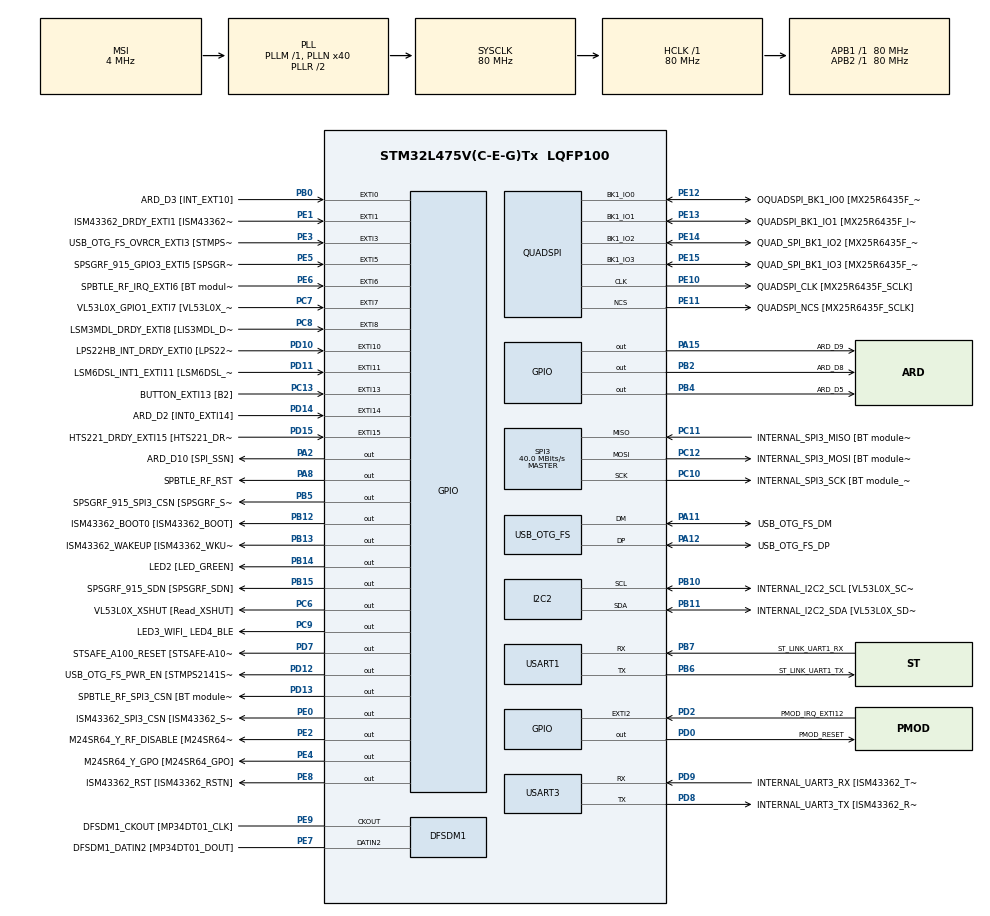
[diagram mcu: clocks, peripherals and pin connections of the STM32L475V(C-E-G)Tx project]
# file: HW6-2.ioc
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FREERTOS.Tasks01=defaultTask,24,128,StartDefaultTask,Default,NULL,Dynamic,NULL,NULL;myTask02,24,512,StartTask02,Default,NULL,Static,myTask02Buffer,myTask02ControlBlock
Mcu.Family=STM32L4
Mcu.Name=STM32L475V(C-E-G)Tx
Mcu.Package=LQFP100
NVIC.EXTI15_10_IRQn=true\:5\:0\:false\:false\:true\:true\:true\:true\:true
NVIC.EXTI9_5_IRQn=true\:5\:0\:false\:false\:true\:true\:true\:true\:true
NVIC.PriorityGroup=NVIC_PRIORITYGROUP_4
PA0.GPIO_Label=ARD_D1 [UART4_TX]
PA0.Signal=UART4_TX
PA1.GPIO_Label=ARD_D0 [UART4_RX]
PA1.Signal=UART4_RX
PA10.GPIO_Label=USB_OTG_FS_ID
PA10.Signal=USB_OTG_FS_ID
PA11.GPIO_Label=USB_OTG_FS_DM
PA11.Mode=Device_Only
PA11.Signal=USB_OTG_FS_DM
PA12.GPIO_Label=USB_OTG_FS_DP
PA12.Mode=Device_Only
PA12.Signal=USB_OTG_FS_DP
PA13\ (JTMS-SWDIO).GPIO_Label=SYS_JTMS_SWDIO
PA13\ (JTMS-SWDIO).Mode=Serial_Wire
PA13\ (JTMS-SWDIO).Signal=SYS_JTMS-SWDIO
PA14\ (JTCK-SWCLK).GPIO_Label=SYS_JTCK_SWCLK
PA14\ (JTCK-SWCLK).Mode=Serial_Wire
PA14\ (JTCK-SWCLK).Signal=SYS_JTCK-SWCLK
PA15\ (JTDI).GPIO_Label=ARD_D9
PA15\ (JTDI).Signal=GPIO_Output
PA2.GPIO_Label=ARD_D10 [SPI_SSN]
PA2.Signal=GPIO_Output
PA3.GPIO_Label=ARD_D4
PA3.Signal=S_TIM2_CH4
PA4.GPIO_Label=ARD_D7
PA4.Signal=ADCx_IN9
PA5.GPIO_Label=ARD_D13 [SPI1_SCK]
PA5.Signal=SPI1_SCK
PA6.GPIO_Label=ARD_D12 [SPI1_MISO]
PA6.Signal=SPI1_MISO
PA7.GPIO_Label=ARD_D11 [SPI1_MOSI]
PA7.Signal=SPI1_MOSI
PA8.GPIO_Label=SPBTLE_RF_RST
PA8.Signal=GPIO_Output
PA9.GPIO_Label=USB_OTG_FS_VBUS [STMPS2141STR_OUT]
PA9.Signal=USB_OTG_FS_VBUS
PB0.GPIO_Label=ARD_D3 [INT_EXT10]
PB0.Signal=GPXTI0
PB1.GPIO_Label=ARD_D6 [ADC1_IN6]
PB1.Signal=ADCx_IN16
PB10.GPIO_Label=INTERNAL_I2C2_SCL [VL53L0X_SCL]
PB10.GPIO_Pu=GPIO_PULLUP
PB10.Mode=I2C
PB10.Signal=I2C2_SCL
PB11.GPIO_Label=INTERNAL_I2C2_SDA [VL53L0X_SDA]
PB11.GPIO_Pu=GPIO_PULLUP
PB11.Mode=I2C
PB11.Signal=I2C2_SDA
PB12.GPIO_Label=ISM43362_BOOT0 [ISM43362_BOOT]
PB12.Signal=GPIO_Output
PB13.GPIO_Label=ISM43362_WAKEUP [ISM43362_WKUP]
PB13.Signal=GPIO_Output
PB14.GPIO_Label=LED2 [LED_GREEN]
PB14.Signal=GPIO_Output
PB15.GPIO_Label=SPSGRF_915_SDN [SPSGRF_SDN]
PB15.Signal=GPIO_Output
PB2.GPIO_Label=ARD_D8
PB2.Signal=GPIO_Output
PB3\ (JTDO-TRACESWO).GPIO_Label=SYS_JTD0_SWO
PB3\ (JTDO-TRACESWO).Signal=SYS_JTDO-SWO
PB4\ (NJTRST).GPIO_Label=ARD_D5
PB4\ (NJTRST).Signal=GPIO_Output
PB5.GPIO_Label=SPSGRF_915_SPI3_CSN [SPSGRF_SPI_CS]
PB5.PinState=GPIO_PIN_SET
PB5.Signal=GPIO_Output
PB6.GPIO_Label=ST_LINK_UART1_TX
PB6.Mode=Asynchronous
PB6.Signal=USART1_TX
PB7.GPIO_Label=ST_LINK_UART1_RX
PB7.Mode=Asynchronous
PB7.Signal=USART1_RX
PB8.GPIO_Label=ARD_D15 [I2C1_SCL]
PB8.Signal=I2C1_SCL
PB9.GPIO_Label=ARD_D14 [I2C1_SDA]
PB9.Signal=I2C1_SDA
PC0.GPIO_Label=ARD_A5 [ADC]
PC0.Signal=ADCx_IN1
PC1.GPIO_Label=ARD_A4 [ADC]
PC1.Signal=ADCx_IN2
PC10.GPIO_Label=INTERNAL_SPI3_SCK [BT module_SPI_SCLK] [ISM43362_SCK]
PC10.Mode=Full_Duplex_Master
PC10.Signal=SPI3_SCK
PC11.GPIO_Label=INTERNAL_SPI3_MISO [BT module_SPI_MISO] [ISM43362_MISO]
PC11.Mode=Full_Duplex_Master
PC11.Signal=SPI3_MISO
PC12.GPIO_Label=INTERNAL_SPI3_MOSI [BT module_SPI_MOSI] [ISM43362_MOSI]
PC12.Mode=Full_Duplex_Master
PC12.Signal=SPI3_MOSI
PC13.GPIO_Label=BUTTON_EXTI13 [B2]
PC13.GPIO_ModeDefaultEXTI=GPIO_MODE_IT_FALLING
PC13.Signal=GPXTI13
PC14-OSC32_IN\ (PC14).Mode=LSE-External-Oscillator
PC14-OSC32_IN\ (PC14).Signal=RCC_OSC32_IN
PC15-OSC32_OUT\ (PC15).Mode=LSE-External-Oscillator
PC15-OSC32_OUT\ (PC15).Signal=RCC_OSC32_OUT
PC2.GPIO_Label=ARD_A3 [ADC]
PC2.Signal=ADCx_IN3
PC3.GPIO_Label=ARD_A2 [ADC]
PC3.Signal=ADCx_IN4
PC4.GPIO_Label=ARD_A1 [ADC]
PC4.Signal=ADCx_IN13
PC5.GPIO_Label=ARD_A0 [ADC]
PC5.Signal=ADCx_IN14
PC6.GPIO_Label=VL53L0X_XSHUT [Read_XSHUT]
PC6.Signal=GPIO_Output
PC7.GPIO_Label=VL53L0X_GPIO1_EXTI7 [VL53L0X_GPIO1]
PC7.Signal=GPXTI7
PC8.GPIO_Label=LSM3MDL_DRDY_EXTI8 [LIS3MDL_DRDY]
PC8.Signal=GPXTI8
PC9.GPIO_Label=LED3_WIFI_ LED4_BLE
PC9.Signal=GPIO_Output
PD0.GPIO_Label=PMOD_RESET
PD0.Signal=GPIO_Output
PD1.GPIO_Label=PMOD_SPI2_SCK
PD1.Signal=SPI2_SCK
PD10.GPIO_Label=LPS22HB_INT_DRDY_EXTI0 [LPS22HB_INT_DRDY] 
PD10.Signal=GPXTI10
PD11.GPIO_Label=LSM6DSL_INT1_EXTI11 [LSM6DSL_INT1]
PD11.Signal=GPXTI11
PD12.GPIO_Label=USB_OTG_FS_PWR_EN [STMPS2141STR_EN]
PD12.Signal=GPIO_Output
PD13.GPIO_Label=SPBTLE_RF_SPI3_CSN [BT module_SPI_CS]
PD13.PinState=GPIO_PIN_SET
PD13.Signal=GPIO_Output
PD14.GPIO_Label=ARD_D2 [INT0_EXTI14]
PD14.Signal=GPXTI14
PD15.GPIO_Label=HTS221_DRDY_EXTI15 [HTS221_DRDY]
PD15.Signal=GPXTI15
PD2.GPIO_Label=PMOD_IRQ_EXTI12
PD2.Signal=GPXTI2
PD3.GPIO_Label=PMOD_UART2_CTS
PD3.Signal=USART2_CTS
PD4.GPIO_Label=PMOD_UART2_RTS
PD4.Signal=USART2_RTS
PD5.GPIO_Label=PMOD_UART2_TX
PD5.Signal=USART2_TX
PD6.GPIO_Label=PMOD_UART2_RX
PD6.Signal=USART2_RX
PD7.GPIO_Label=STSAFE_A100_RESET [STSAFE-A100_RESET]
PD7.Signal=GPIO_Output
PD8.GPIO_Label=INTERNAL_UART3_TX [ISM43362_RX]
PD8.Mode=Asynchronous
PD8.Signal=USART3_TX
PD9.GPIO_Label=INTERNAL_UART3_RX [ISM43362_TX]
PD9.Mode=Asynchronous
PD9.Signal=USART3_RX
PE0.GPIO_Label=ISM43362_SPI3_CSN [ISM43362_SSN]
PE0.PinState=GPIO_PIN_SET
PE0.Signal=GPIO_Output
PE1.GPIO_Label=ISM43362_DRDY_EXTI1 [ISM43362_DATARDY]
PE1.Signal=GPXTI1
PE10.GPIO_Label=QUADSPI_CLK [MX25R6435F_SCLK]
PE10.Mode=Single Bank
PE10.Signal=QUADSPI_CLK
PE11.GPIO_Label=QUADSPI_NCS [MX25R6435F_SCLK]
PE11.Mode=Single Bank
PE11.Signal=QUADSPI_NCS
PE12.GPIO_Label=OQUADSPI_BK1_IO0 [MX25R6435F_IO0]
PE12.Mode=Single Bank
PE12.Signal=QUADSPI_BK1_IO0
PE13.GPIO_Label=QUADSPI_BK1_IO1 [MX25R6435F_IO1]
PE13.Mode=Single Bank
PE13.Signal=QUADSPI_BK1_IO1
PE14.GPIO_Label=QUAD_SPI_BK1_IO2 [MX25R6435F_IO2]
PE14.Mode=Single Bank
PE14.Signal=QUADSPI_BK1_IO2
PE15.GPIO_Label=QUAD_SPI_BK1_IO3 [MX25R6435F_IO3]
PE15.Mode=Single Bank
PE15.Signal=QUADSPI_BK1_IO3
PE2.GPIO_Label=M24SR64_Y_RF_DISABLE [M24SR64_RFDIS]
PE2.Signal=GPIO_Output
PE3.GPIO_Label=USB_OTG_FS_OVRCR_EXTI3 [STMPS2141STR_FAULT]
PE3.Signal=GPXTI3
PE4.GPIO_Label=M24SR64_Y_GPO [M24SR64_GPO]
PE4.Signal=GPIO_Output
PE5.GPIO_Label=SPSGRF_915_GPIO3_EXTI5 [SPSGRF_GPIO_3]
PE5.Signal=GPXTI5
PE6.GPIO_Label=SPBTLE_RF_IRQ_EXTI6 [BT module_SPI_IRQ]
PE6.Signal=GPXTI6
PE7.GPIO_Label=DFSDM1_DATIN2 [MP34DT01_DOUT]
PE7.Signal=S_DATAIN2DFSDM1
PE8.GPIO_Label=ISM43362_RST [ISM43362_RSTN]
PE8.Signal=GPIO_Output
PE9.GPIO_Label=DFSDM1_CKOUT [MP34DT01_CLK]
PE9.Signal=S_CKOUTDFSDM1
ProjectManager.HeapSize=0x200
ProjectManager.StackSize=0x400
ProjectManager.TargetToolchain=STM32CubeIDE
QUADSPI.ClockPrescaler=2
QUADSPI.FifoThreshold=4
QUADSPI.FlashSize=23
QUADSPI.SampleShifting=QSPI_SAMPLE_SHIFTING_HALFCYCLE
RCC.ADCFreq_Value=48000000
RCC.AHBFreq_Value=80000000
RCC.APB1Freq_Value=80000000
RCC.APB1TimFreq_Value=80000000
RCC.APB2Freq_Value=80000000
RCC.APB2TimFreq_Value=80000000
RCC.CortexFreq_Value=80000000
RCC.HCLKFreq_Value=80000000
RCC.HSE_VALUE=8000000
RCC.HSI_VALUE=16000000
RCC.MSI_VALUE=4000000
RCC.PLLN=40
RCC.PLLSAI1N=24
RCC.SYSCLKFreq_VALUE=80000000
RCC.SYSCLKSource=RCC_SYSCLKSOURCE_PLLCLK
RCC.USBFreq_Value=48000000
RCC.VCOOutputFreq_Value=160000000
SH.ADCx_IN1.0=ADC1_IN1
SH.ADCx_IN13.0=ADC1_IN13
SH.ADCx_IN14.0=ADC1_IN14
SH.ADCx_IN16.0=ADC1_IN16
SH.ADCx_IN2.0=ADC1_IN2
SH.ADCx_IN3.0=ADC1_IN3
SH.ADCx_IN4.0=ADC1_IN4
SH.ADCx_IN9.0=ADC1_IN9
SH.S_CKOUTDFSDM1.0=DFSDM1_CKOUT,CKOUT
SH.S_CKOUTDFSDM1.1=DFSDM1_CKOUT,PDM_SPI_Input_from_ch12_and_Internal_Clock
SH.S_DATAIN2DFSDM1.0=DFSDM1_DATIN2,PDM_SPI_Input_from_ch12_and_Internal_Clock
SH.S_TIM2_CH4.0=TIM2_CH4
SPI3.CalculateBaudRate=40.0 MBits/s
SPI3.Direction=SPI_DIRECTION_2LINES
SPI3.Mode=SPI_MODE_MASTER
SPI3.VirtualType=VM_MASTER
USART1.VirtualMode-Asynchronous=VM_ASYNC
USART3.VirtualMode-Asynchronous=VM_ASYNC
USB_OTG_FS.VirtualMode=Device_Only
VP_FREERTOS_VS_CMSIS_V2.Mode=CMSIS_V2
board=B-L475E-IOT01A1

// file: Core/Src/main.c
/* USER CODE BEGIN Header */
/**
  ******************************************************************************
  * @file           : main.c
  * @brief          : Main program body
  ******************************************************************************
  * @attention
  *
  * Copyright (c) 2025 STMicroelectronics.
  * All rights reserved.
  *
  * This software is licensed under terms that can be found in the LICENSE file
  * in the root directory of this software component.
  * If no LICENSE file comes with this software, it is provided AS-IS.
  *
  ******************************************************************************
  */
/* USER CODE END Header */
#include "main.h"
#include "cmsis_os.h"
#include "stdio.h"

typedef StaticTask_t osStaticThreadDef_t;
typedef StaticSemaphore_t osStaticSemaphoreDef_t;

DFSDM_Channel_HandleTypeDef hdfsdm1_channel1;

I2C_HandleTypeDef hi2c2;

QSPI_HandleTypeDef hqspi;

SPI_HandleTypeDef hspi3;

UART_HandleTypeDef huart1;
UART_HandleTypeDef huart3;

PCD_HandleTypeDef hpcd_USB_OTG_FS;

/* Definitions for defaultTask */
osThreadId_t defaultTaskHandle;
const osThreadAttr_t defaultTask_attributes = {
  .name = "defaultTask",
  .stack_size = 128 * 4,
  .priority = (osPriority_t) osPriorityNormal,
};
/* Definitions for myTask02 */
osThreadId_t myTask02Handle;
uint32_t myTask02Buffer[ 512 ];
osStaticThreadDef_t myTask02ControlBlock;
const osThreadAttr_t myTask02_attributes = {
  .name = "myTask02",
  .cb_mem = &myTask02ControlBlock,
  .cb_size = sizeof(myTask02ControlBlock),
  .stack_mem = &myTask02Buffer[0],
  .stack_size = sizeof(myTask02Buffer),
  .priority = (osPriority_t) osPriorityNormal,
};
/* USER CODE BEGIN PV */
TIM_HandleTypeDef htim1;
ADC_HandleTypeDef hadc1;
DMA_HandleTypeDef hdma1;

#define SAMPLE_BUFFER_SIZE  256
uint16_t sample_buffer[SAMPLE_BUFFER_SIZE];

/* Definitions for dataReadySem */
osSemaphoreId_t dataReadySemHandle;
osStaticSemaphoreDef_t dataReadySemControlBlock; // <-- 這是號誌的靜態記憶體
const osSemaphoreAttr_t dataReadySem_attributes = {
  .name = "dataReadySem",
  .cb_mem = &dataReadySemControlBlock,      // <-- 指向靜態記憶體
  .cb_size = sizeof(dataReadySemControlBlock) // <-- 告訴 RTOS 它的大小
};
/* USER CODE END PV */

void SystemClock_Config(void);
static void MX_GPIO_Init(void);
static void MX_DFSDM1_Init(void);
static void MX_I2C2_Init(void);
static void MX_QUADSPI_Init(void);
static void MX_SPI3_Init(void);
static void MX_USART1_UART_Init(void);
static void MX_USART3_UART_Init(void);
static void MX_USB_OTG_FS_PCD_Init(void);
void StartDefaultTask(void *argument);
void StartTask02(void *argument);

/* USER CODE BEGIN PFP */
void ADC1_Init(void);
void ADC1_DMA1CH1_init(void); // <-- 修正 implicit declaration 警告
static void TIM1_Init(void);

/* USER CODE END PFP */

/* USER CODE BEGIN 0 */
int __io_putchar(int ch)
{
	HAL_UART_Transmit(&huart1, (uint8_t *)&ch, 1, 0XFFFF);
	return ch;
}

void ADC1_Init(void)
{
    ADC_MultiModeTypeDef multimode = {0};
    ADC_ChannelConfTypeDef sConfig = {0};

  /** Common config
  */
    hadc1.Instance = ADC1;
    hadc1.Init.ClockPrescaler = ADC_CLOCK_SYNC_PCLK_DIV4;//ADC_CLOCK_ASYNC_DIV1;
    hadc1.Init.Resolution = ADC_RESOLUTION_12B;
    hadc1.Init.DataAlign = ADC_DATAALIGN_RIGHT;
    hadc1.Init.ScanConvMode = ADC_SCAN_DISABLE;
    hadc1.Init.EOCSelection = ADC_EOC_SINGLE_CONV;
    hadc1.Init.LowPowerAutoWait = DISABLE;
    hadc1.Init.ContinuousConvMode = DISABLE;
    hadc1.Init.NbrOfConversion = 1;
    hadc1.Init.DiscontinuousConvMode = DISABLE;
    hadc1.Init.ExternalTrigConv = ADC_EXTERNALTRIG_T1_TRGO;
    hadc1.Init.ExternalTrigConvEdge = ADC_EXTERNALTRIGCONVEDGE_RISING;
    hadc1.Init.DMAContinuousRequests = DISABLE;
    hadc1.Init.Overrun = ADC_OVR_DATA_PRESERVED;
    hadc1.Init.OversamplingMode = DISABLE;
    if (HAL_ADC_Init(&hadc1) != HAL_OK)
    {
        Error_Handler();
    }

    if (HAL_ADCEx_Calibration_Start(&hadc1, ADC_SINGLE_ENDED) != HAL_OK)
    {
        Error_Handler();
    }

  /** Configure the ADC multi-mode
  */
    multimode.Mode = ADC_MODE_INDEPENDENT;
    if (HAL_ADCEx_MultiModeConfigChannel(&hadc1, &multimode) != HAL_OK)
    {
        Error_Handler();
    }

  /** Configure Regular Channel
  */
    sConfig.Channel = ADC_CHANNEL_TEMPSENSOR;
    sConfig.Rank = ADC_REGULAR_RANK_1;
    sConfig.SamplingTime = ADC_SAMPLETIME_2CYCLES_5;//ADC_SAMPLETIME_247CYCLES_5;
    sConfig.SingleDiff = ADC_SINGLE_ENDED;
    sConfig.OffsetNumber = ADC_OFFSET_NONE;
    sConfig.Offset = 0;
    if (HAL_ADC_ConfigChannel(&hadc1, &sConfig) != HAL_OK)
    {
        Error_Handler();
    }

}

void HAL_ADC_ConvCpltCallback(ADC_HandleTypeDef *hadc)
{
	//to do: inform RTOS task to print out sensor
	osSemaphoreRelease(dataReadySemHandle);
}

void HAL_ADC_ConvHalfCpltCallback(ADC_HandleTypeDef *hadc)
{
    	//to do: inform RTOS task to print out sensor data
	osSemaphoreRelease(dataReadySemHandle);
}

void HAL_TIM_Base_MspInit(TIM_HandleTypeDef* htim_base)
{
    if(htim_base->Instance == TIM1)
    {
        __HAL_RCC_TIM1_CLK_ENABLE();
    }
}

void HAL_TIM_Base_MspDeInit(TIM_HandleTypeDef* htim_base)
{
    if(htim_base->Instance == TIM1)
    {
        __HAL_RCC_TIM1_CLK_DISABLE();
    }
}

static void TIM1_Init(void)
{
    TIM_ClockConfigTypeDef sClockSourceConfig = {0};
    TIM_MasterConfigTypeDef sMasterConfig = {0};

    htim1.Instance = TIM1;
    htim1.Init.Prescaler = 4000 - 1;
    htim1.Init.CounterMode = TIM_COUNTERMODE_UP;
    htim1.Init.Period = 1000 - 1;
    htim1.Init.ClockDivision = TIM_CLOCKDIVISION_DIV1;
    htim1.Init.AutoReloadPreload = TIM_AUTORELOAD_PRELOAD_DISABLE;
    if (HAL_TIM_Base_Init(&htim1) != HAL_OK)
    {
        Error_Handler();
    }
    sClockSourceConfig.ClockSource = TIM_CLOCKSOURCE_INTERNAL;
    if (HAL_TIM_ConfigClockSource(&htim1, &sClockSourceConfig) != HAL_OK)
    {
        Error_Handler();
    }
    sMasterConfig.MasterOutputTrigger = TIM_TRGO_UPDATE;
    sMasterConfig.MasterSlaveMode = TIM_MASTERSLAVEMODE_DISABLE;
    if (HAL_TIMEx_MasterConfigSynchronization(&htim1, &sMasterConfig) != HAL_OK)
    {
        Error_Handler();
    }
}
/* USER CODE END 0 */

int main(void)
{

  /* MCU Configuration--------------------------------------------------------*/

  /* Reset of all peripherals, Initializes the Flash interface and the Systick. */
  HAL_Init();

  /* Configure the system clock */
  SystemClock_Config();

  /* Initialize all configured peripherals */
  MX_GPIO_Init();
  MX_DFSDM1_Init();
  MX_I2C2_Init();
  MX_QUADSPI_Init();
  MX_SPI3_Init();
  MX_USART1_UART_Init();
  MX_USART3_UART_Init();
  MX_USB_OTG_FS_PCD_Init();
  /* USER CODE BEGIN 2 */
  ADC1_Init();
  TIM1_Init();
  ADC1_DMA1CH1_init();

  //to do: init some RTOS object and task

  HAL_ADC_Start_DMA(&hadc1, (uint32_t*)sample_buffer, SAMPLE_BUFFER_SIZE);
  HAL_TIM_Base_Start(&htim1);

  //to do: start RTOS sheduling

  /* USER CODE END 2 */

  /* Init scheduler */
  osKernelInitialize();

  /* USER CODE BEGIN RTOS_SEMAPHORES */
  /* add semaphores, ... */
  dataReadySemHandle = osSemaphoreNew(1, 0, &dataReadySem_attributes);
  /* USER CODE END RTOS_SEMAPHORES */

  /* Create the thread(s) */
  /* creation of defaultTask */
  defaultTaskHandle = osThreadNew(StartDefaultTask, NULL, &defaultTask_attributes);

  /* creation of myTask02 */
  myTask02Handle = osThreadNew(StartTask02, NULL, &myTask02_attributes);

  /* Start scheduler */
  osKernelStart();

  /* We should never get here as control is now taken by the scheduler */

  /* Infinite loop */
  while (1)
  {

  }
}

void SystemClock_Config(void)
{
  RCC_OscInitTypeDef RCC_OscInitStruct = {0};
  RCC_ClkInitTypeDef RCC_ClkInitStruct = {0};

  /** Configure the main internal regulator output voltage
  */
  if (HAL_PWREx_ControlVoltageScaling(PWR_REGULATOR_VOLTAGE_SCALE1) != HAL_OK)
  {
    Error_Handler();
  }

  /** Configure LSE Drive Capability
  */
  HAL_PWR_EnableBkUpAccess();
  __HAL_RCC_LSEDRIVE_CONFIG(RCC_LSEDRIVE_LOW);

  /** Initializes the RCC Oscillators according to the specified parameters
  * in the RCC_OscInitTypeDef structure.
  */
  RCC_OscInitStruct.OscillatorType = RCC_OSCILLATORTYPE_LSE|RCC_OSCILLATORTYPE_MSI;
  RCC_OscInitStruct.LSEState = RCC_LSE_ON;
  RCC_OscInitStruct.MSIState = RCC_MSI_ON;
  RCC_OscInitStruct.MSICalibrationValue = 0;
  RCC_OscInitStruct.MSIClockRange = RCC_MSIRANGE_6;
  RCC_OscInitStruct.PLL.PLLState = RCC_PLL_ON;
  RCC_OscInitStruct.PLL.PLLSource = RCC_PLLSOURCE_MSI;
  RCC_OscInitStruct.PLL.PLLM = 1;
  RCC_OscInitStruct.PLL.PLLN = 40;
  RCC_OscInitStruct.PLL.PLLP = RCC_PLLP_DIV7;
  RCC_OscInitStruct.PLL.PLLQ = RCC_PLLQ_DIV2;
  RCC_OscInitStruct.PLL.PLLR = RCC_PLLR_DIV2;
  if (HAL_RCC_OscConfig(&RCC_OscInitStruct) != HAL_OK)
  {
    Error_Handler();
  }

  /** Initializes the CPU, AHB and APB buses clocks
  */
  RCC_ClkInitStruct.ClockType = RCC_CLOCKTYPE_HCLK|RCC_CLOCKTYPE_SYSCLK
                              |RCC_CLOCKTYPE_PCLK1|RCC_CLOCKTYPE_PCLK2;
  RCC_ClkInitStruct.SYSCLKSource = RCC_SYSCLKSOURCE_PLLCLK;
  RCC_ClkInitStruct.AHBCLKDivider = RCC_SYSCLK_DIV1;
  RCC_ClkInitStruct.APB1CLKDivider = RCC_HCLK_DIV1;
  RCC_ClkInitStruct.APB2CLKDivider = RCC_HCLK_DIV1;

  if (HAL_RCC_ClockConfig(&RCC_ClkInitStruct, FLASH_LATENCY_4) != HAL_OK)
  {
    Error_Handler();
  }

  /** Enable MSI Auto calibration
  */
  HAL_RCCEx_EnableMSIPLLMode();
}

static void MX_DFSDM1_Init(void)
{

  hdfsdm1_channel1.Instance = DFSDM1_Channel1;
  hdfsdm1_channel1.Init.OutputClock.Activation = ENABLE;
  hdfsdm1_channel1.Init.OutputClock.Selection = DFSDM_CHANNEL_OUTPUT_CLOCK_SYSTEM;
  hdfsdm1_channel1.Init.OutputClock.Divider = 2;
  hdfsdm1_channel1.Init.Input.Multiplexer = DFSDM_CHANNEL_EXTERNAL_INPUTS;
  hdfsdm1_channel1.Init.Input.DataPacking = DFSDM_CHANNEL_STANDARD_MODE;
  hdfsdm1_channel1.Init.Input.Pins = DFSDM_CHANNEL_FOLLOWING_CHANNEL_PINS;
  hdfsdm1_channel1.Init.SerialInterface.Type = DFSDM_CHANNEL_SPI_RISING;
  hdfsdm1_channel1.Init.SerialInterface.SpiClock = DFSDM_CHANNEL_SPI_CLOCK_INTERNAL;
  hdfsdm1_channel1.Init.Awd.FilterOrder = DFSDM_CHANNEL_FASTSINC_ORDER;
  hdfsdm1_channel1.Init.Awd.Oversampling = 1;
  hdfsdm1_channel1.Init.Offset = 0;
  hdfsdm1_channel1.Init.RightBitShift = 0x00;
  if (HAL_DFSDM_ChannelInit(&hdfsdm1_channel1) != HAL_OK)
  {
    Error_Handler();
  }

}

static void MX_I2C2_Init(void)
{

  hi2c2.Instance = I2C2;
  hi2c2.Init.Timing = 0x00000E14;
  hi2c2.Init.OwnAddress1 = 0;
  hi2c2.Init.AddressingMode = I2C_ADDRESSINGMODE_7BIT;
  hi2c2.Init.DualAddressMode = I2C_DUALADDRESS_DISABLE;
  hi2c2.Init.OwnAddress2 = 0;
  hi2c2.Init.OwnAddress2Masks = I2C_OA2_NOMASK;
  hi2c2.Init.GeneralCallMode = I2C_GENERALCALL_DISABLE;
  hi2c2.Init.NoStretchMode = I2C_NOSTRETCH_DISABLE;
  if (HAL_I2C_Init(&hi2c2) != HAL_OK)
  {
    Error_Handler();
  }

  /** Configure Analogue filter
  */
  if (HAL_I2CEx_ConfigAnalogFilter(&hi2c2, I2C_ANALOGFILTER_ENABLE) != HAL_OK)
  {
    Error_Handler();
  }

  /** Configure Digital filter
  */
  if (HAL_I2CEx_ConfigDigitalFilter(&hi2c2, 0) != HAL_OK)
  {
    Error_Handler();
  }

}

static void MX_QUADSPI_Init(void)
{

  /* QUADSPI parameter configuration*/
  hqspi.Instance = QUADSPI;
  hqspi.Init.ClockPrescaler = 2;
  hqspi.Init.FifoThreshold = 4;
  hqspi.Init.SampleShifting = QSPI_SAMPLE_SHIFTING_HALFCYCLE;
  hqspi.Init.FlashSize = 23;
  hqspi.Init.ChipSelectHighTime = QSPI_CS_HIGH_TIME_1_CYCLE;
  hqspi.Init.ClockMode = QSPI_CLOCK_MODE_0;
  if (HAL_QSPI_Init(&hqspi) != HAL_OK)
  {
    Error_Handler();
  }

}

static void MX_SPI3_Init(void)
{

  /* SPI3 parameter configuration*/
  hspi3.Instance = SPI3;
  hspi3.Init.Mode = SPI_MODE_MASTER;
  hspi3.Init.Direction = SPI_DIRECTION_2LINES;
  hspi3.Init.DataSize = SPI_DATASIZE_4BIT;
  hspi3.Init.CLKPolarity = SPI_POLARITY_LOW;
  hspi3.Init.CLKPhase = SPI_PHASE_1EDGE;
  hspi3.Init.NSS = SPI_NSS_SOFT;
  hspi3.Init.BaudRatePrescaler = SPI_BAUDRATEPRESCALER_2;
  hspi3.Init.FirstBit = SPI_FIRSTBIT_MSB;
  hspi3.Init.TIMode = SPI_TIMODE_DISABLE;
  hspi3.Init.CRCCalculation = SPI_CRCCALCULATION_DISABLE;
  hspi3.Init.CRCPolynomial = 7;
  hspi3.Init.CRCLength = SPI_CRC_LENGTH_DATASIZE;
  hspi3.Init.NSSPMode = SPI_NSS_PULSE_ENABLE;
  if (HAL_SPI_Init(&hspi3) != HAL_OK)
  {
    Error_Handler();
  }

}

static void MX_USART1_UART_Init(void)
{

  huart1.Instance = USART1;
  huart1.Init.BaudRate = 115200;
  huart1.Init.WordLength = UART_WORDLENGTH_8B;
  huart1.Init.StopBits = UART_STOPBITS_1;
  huart1.Init.Parity = UART_PARITY_NONE;
  huart1.Init.Mode = UART_MODE_TX_RX;
  huart1.Init.HwFlowCtl = UART_HWCONTROL_NONE;
  huart1.Init.OverSampling = UART_OVERSAMPLING_16;
  huart1.Init.OneBitSampling = UART_ONE_BIT_SAMPLE_DISABLE;
  huart1.AdvancedInit.AdvFeatureInit = UART_ADVFEATURE_NO_INIT;
  if (HAL_UART_Init(&huart1) != HAL_OK)
  {
    Error_Handler();
  }

}

static void MX_USART3_UART_Init(void)
{

  huart3.Instance = USART3;
  huart3.Init.BaudRate = 115200;
  huart3.Init.WordLength = UART_WORDLENGTH_8B;
  huart3.Init.StopBits = UART_STOPBITS_1;
  huart3.Init.Parity = UART_PARITY_NONE;
  huart3.Init.Mode = UART_MODE_TX_RX;
  huart3.Init.HwFlowCtl = UART_HWCONTROL_NONE;
  huart3.Init.OverSampling = UART_OVERSAMPLING_16;
  huart3.Init.OneBitSampling = UART_ONE_BIT_SAMPLE_DISABLE;
  huart3.AdvancedInit.AdvFeatureInit = UART_ADVFEATURE_NO_INIT;
  if (HAL_UART_Init(&huart3) != HAL_OK)
  {
    Error_Handler();
  }

}

static void MX_USB_OTG_FS_PCD_Init(void)
{

  hpcd_USB_OTG_FS.Instance = USB_OTG_FS;
  hpcd_USB_OTG_FS.Init.dev_endpoints = 6;
  hpcd_USB_OTG_FS.Init.speed = PCD_SPEED_FULL;
  hpcd_USB_OTG_FS.Init.phy_itface = PCD_PHY_EMBEDDED;
  hpcd_USB_OTG_FS.Init.Sof_enable = DISABLE;
  hpcd_USB_OTG_FS.Init.low_power_enable = DISABLE;
  hpcd_USB_OTG_FS.Init.lpm_enable = DISABLE;
  hpcd_USB_OTG_FS.Init.battery_charging_enable = DISABLE;
  hpcd_USB_OTG_FS.Init.use_dedicated_ep1 = DISABLE;
  hpcd_USB_OTG_FS.Init.vbus_sensing_enable = DISABLE;
  if (HAL_PCD_Init(&hpcd_USB_OTG_FS) != HAL_OK)
  {
    Error_Handler();
  }

}

static void MX_GPIO_Init(void)
{
  GPIO_InitTypeDef GPIO_InitStruct = {0};

  /* GPIO Ports Clock Enable */
  __HAL_RCC_GPIOE_CLK_ENABLE();
  __HAL_RCC_GPIOC_CLK_ENABLE();
  __HAL_RCC_GPIOA_CLK_ENABLE();
  __HAL_RCC_GPIOB_CLK_ENABLE();
  __HAL_RCC_GPIOD_CLK_ENABLE();

  /*Configure GPIO pin Output Level */
  HAL_GPIO_WritePin(GPIOE, M24SR64_Y_RF_DISABLE_Pin|M24SR64_Y_GPO_Pin|ISM43362_RST_Pin, GPIO_PIN_RESET);

  /*Configure GPIO pin Output Level */
  HAL_GPIO_WritePin(GPIOA, ARD_D10_Pin|SPBTLE_RF_RST_Pin|ARD_D9_Pin, GPIO_PIN_RESET);

  /*Configure GPIO pin Output Level */
  HAL_GPIO_WritePin(GPIOB, ARD_D8_Pin|ISM43362_BOOT0_Pin|ISM43362_WAKEUP_Pin|LED2_Pin
                          |SPSGRF_915_SDN_Pin|ARD_D5_Pin, GPIO_PIN_RESET);

  /*Configure GPIO pin Output Level */
  HAL_GPIO_WritePin(GPIOD, USB_OTG_FS_PWR_EN_Pin|PMOD_RESET_Pin|STSAFE_A100_RESET_Pin, GPIO_PIN_RESET);

  /*Configure GPIO pin Output Level */
  HAL_GPIO_WritePin(SPBTLE_RF_SPI3_CSN_GPIO_Port, SPBTLE_RF_SPI3_CSN_Pin, GPIO_PIN_SET);

  /*Configure GPIO pin Output Level */
  HAL_GPIO_WritePin(GPIOC, VL53L0X_XSHUT_Pin|LED3_WIFI__LED4_BLE_Pin, GPIO_PIN_RESET);

  /*Configure GPIO pin Output Level */
  HAL_GPIO_WritePin(SPSGRF_915_SPI3_CSN_GPIO_Port, SPSGRF_915_SPI3_CSN_Pin, GPIO_PIN_SET);

  /*Configure GPIO pin Output Level */
  HAL_GPIO_WritePin(ISM43362_SPI3_CSN_GPIO_Port, ISM43362_SPI3_CSN_Pin, GPIO_PIN_SET);

  /*Configure GPIO pins : M24SR64_Y_RF_DISABLE_Pin M24SR64_Y_GPO_Pin ISM43362_RST_Pin ISM43362_SPI3_CSN_Pin */
  GPIO_InitStruct.Pin = M24SR64_Y_RF_DISABLE_Pin|M24SR64_Y_GPO_Pin|ISM43362_RST_Pin|ISM43362_SPI3_CSN_Pin;
  GPIO_InitStruct.Mode = GPIO_MODE_OUTPUT_PP;
  GPIO_InitStruct.Pull = GPIO_NOPULL;
  GPIO_InitStruct.Speed = GPIO_SPEED_FREQ_LOW;
  HAL_GPIO_Init(GPIOE, &GPIO_InitStruct);

  /*Configure GPIO pins : USB_OTG_FS_OVRCR_EXTI3_Pin SPSGRF_915_GPIO3_EXTI5_Pin SPBTLE_RF_IRQ_EXTI6_Pin ISM43362_DRDY_EXTI1_Pin */
  GPIO_InitStruct.Pin = USB_OTG_FS_OVRCR_EXTI3_Pin|SPSGRF_915_GPIO3_EXTI5_Pin|SPBTLE_RF_IRQ_EXTI6_Pin|ISM43362_DRDY_EXTI1_Pin;
  GPIO_InitStruct.Mode = GPIO_MODE_IT_RISING;
  GPIO_InitStruct.Pull = GPIO_NOPULL;
  HAL_GPIO_Init(GPIOE, &GPIO_InitStruct);

  /*Configure GPIO pin : BUTTON_EXTI13_Pin */
  GPIO_InitStruct.Pin = BUTTON_EXTI13_Pin;
  GPIO_InitStruct.Mode = GPIO_MODE_IT_FALLING;
  GPIO_InitStruct.Pull = GPIO_NOPULL;
  HAL_GPIO_Init(BUTTON_EXTI13_GPIO_Port, &GPIO_InitStruct);

  /*Configure GPIO pins : ARD_A5_Pin ARD_A4_Pin ARD_A3_Pin ARD_A2_Pin
                           ARD_A1_Pin ARD_A0_Pin */
  GPIO_InitStruct.Pin = ARD_A5_Pin|ARD_A4_Pin|ARD_A3_Pin|ARD_A2_Pin
                          |ARD_A1_Pin|ARD_A0_Pin;
  GPIO_InitStruct.Mode = GPIO_MODE_ANALOG_ADC_CONTROL;
  GPIO_InitStruct.Pull = GPIO_NOPULL;
  HAL_GPIO_Init(GPIOC, &GPIO_InitStruct);

  /*Configure GPIO pins : ARD_D1_Pin ARD_D0_Pin */
  GPIO_InitStruct.Pin = ARD_D1_Pin|ARD_D0_Pin;
  GPIO_InitStruct.Mode = GPIO_MODE_AF_PP;
  GPIO_InitStruct.Pull = GPIO_NOPULL;
  GPIO_InitStruct.Speed = GPIO_SPEED_FREQ_VERY_HIGH;
  GPIO_InitStruct.Alternate = GPIO_AF8_UART4;
  HAL_GPIO_Init(GPIOA, &GPIO_InitStruct);

  /*Configure GPIO pins : ARD_D10_Pin SPBTLE_RF_RST_Pin ARD_D9_Pin */
  GPIO_InitStruct.Pin = ARD_D10_Pin|SPBTLE_RF_RST_Pin|ARD_D9_Pin;
  GPIO_InitStruct.Mode = GPIO_MODE_OUTPUT_PP;
  GPIO_InitStruct.Pull = GPIO_NOPULL;
  GPIO_InitStruct.Speed = GPIO_SPEED_FREQ_LOW;
  HAL_GPIO_Init(GPIOA, &GPIO_InitStruct);

  /*Configure GPIO pin : ARD_D4_Pin */
  GPIO_InitStruct.Pin = ARD_D4_Pin;
  GPIO_InitStruct.Mode = GPIO_MODE_AF_PP;
  GPIO_InitStruct.Pull = GPIO_NOPULL;
  GPIO_InitStruct.Speed = GPIO_SPEED_FREQ_LOW;
  GPIO_InitStruct.Alternate = GPIO_AF1_TIM2;
  HAL_GPIO_Init(ARD_D4_GPIO_Port, &GPIO_InitStruct);

  /*Configure GPIO pin : ARD_D7_Pin */
  GPIO_InitStruct.Pin = ARD_D7_Pin;
  GPIO_InitStruct.Mode = GPIO_MODE_ANALOG_ADC_CONTROL;
  GPIO_InitStruct.Pull = GPIO_NOPULL;
  HAL_GPIO_Init(ARD_D7_GPIO_Port, &GPIO_InitStruct);

  /*Configure GPIO pins : ARD_D13_Pin ARD_D12_Pin ARD_D11_Pin */
  GPIO_InitStruct.Pin = ARD_D13_Pin|ARD_D12_Pin|ARD_D11_Pin;
  GPIO_InitStruct.Mode = GPIO_MODE_AF_PP;
  GPIO_InitStruct.Pull = GPIO_NOPULL;
  GPIO_InitStruct.Speed = GPIO_SPEED_FREQ_VERY_HIGH;
  GPIO_InitStruct.Alternate = GPIO_AF5_SPI1;
  HAL_GPIO_Init(GPIOA, &GPIO_InitStruct);

  /*Configure GPIO pin : ARD_D3_Pin */
  GPIO_InitStruct.Pin = ARD_D3_Pin;
  GPIO_InitStruct.Mode = GPIO_MODE_IT_RISING;
  GPIO_InitStruct.Pull = GPIO_NOPULL;
  HAL_GPIO_Init(ARD_D3_GPIO_Port, &GPIO_InitStruct);

  /*Configure GPIO pin : ARD_D6_Pin */
  GPIO_InitStruct.Pin = ARD_D6_Pin;
  GPIO_InitStruct.Mode = GPIO_MODE_ANALOG_ADC_CONTROL;
  GPIO_InitStruct.Pull = GPIO_NOPULL;
  HAL_GPIO_Init(ARD_D6_GPIO_Port, &GPIO_InitStruct);

  /*Configure GPIO pins : ARD_D8_Pin ISM43362_BOOT0_Pin ISM43362_WAKEUP_Pin LED2_Pin
                           SPSGRF_915_SDN_Pin ARD_D5_Pin SPSGRF_915_SPI3_CSN_Pin */
  GPIO_InitStruct.Pin = ARD_D8_Pin|ISM43362_BOOT0_Pin|ISM43362_WAKEUP_Pin|LED2_Pin
                          |SPSGRF_915_SDN_Pin|ARD_D5_Pin|SPSGRF_915_SPI3_CSN_Pin;
  GPIO_InitStruct.Mode = GPIO_MODE_OUTPUT_PP;
  GPIO_InitStruct.Pull = GPIO_NOPULL;
  GPIO_InitStruct.Speed = GPIO_SPEED_FREQ_LOW;
  HAL_GPIO_Init(GPIOB, &GPIO_InitStruct);

  /*Configure GPIO pins : LPS22HB_INT_DRDY_EXTI0_Pin LSM6DSL_INT1_EXTI11_Pin ARD_D2_Pin HTS221_DRDY_EXTI15_Pin
                           PMOD_IRQ_EXTI12_Pin */
  GPIO_InitStruct.Pin = LPS22HB_INT_DRDY_EXTI0_Pin|LSM6DSL_INT1_EXTI11_Pin|ARD_D2_Pin|HTS221_DRDY_EXTI15_Pin
                          |PMOD_IRQ_EXTI12_Pin;
  GPIO_InitStruct.Mode = GPIO_MODE_IT_RISING;
  GPIO_InitStruct.Pull = GPIO_NOPULL;
  HAL_GPIO_Init(GPIOD, &GPIO_InitStruct);

  /*Configure GPIO pins : USB_OTG_FS_PWR_EN_Pin SPBTLE_RF_SPI3_CSN_Pin PMOD_RESET_Pin STSAFE_A100_RESET_Pin */
  GPIO_InitStruct.Pin = USB_OTG_FS_PWR_EN_Pin|SPBTLE_RF_SPI3_CSN_Pin|PMOD_RESET_Pin|STSAFE_A100_RESET_Pin;
  GPIO_InitStruct.Mode = GPIO_MODE_OUTPUT_PP;
  GPIO_InitStruct.Pull = GPIO_NOPULL;
  GPIO_InitStruct.Speed = GPIO_SPEED_FREQ_LOW;
  HAL_GPIO_Init(GPIOD, &GPIO_InitStruct);

  /*Configure GPIO pins : VL53L0X_XSHUT_Pin LED3_WIFI__LED4_BLE_Pin */
  GPIO_InitStruct.Pin = VL53L0X_XSHUT_Pin|LED3_WIFI__LED4_BLE_Pin;
  GPIO_InitStruct.Mode = GPIO_MODE_OUTPUT_PP;
  GPIO_InitStruct.Pull = GPIO_NOPULL;
  GPIO_InitStruct.Speed = GPIO_SPEED_FREQ_LOW;
  HAL_GPIO_Init(GPIOC, &GPIO_InitStruct);

  /*Configure GPIO pins : VL53L0X_GPIO1_EXTI7_Pin LSM3MDL_DRDY_EXTI8_Pin */
  GPIO_InitStruct.Pin = VL53L0X_GPIO1_EXTI7_Pin|LSM3MDL_DRDY_EXTI8_Pin;
  GPIO_InitStruct.Mode = GPIO_MODE_IT_RISING;
  GPIO_InitStruct.Pull = GPIO_NOPULL;
  HAL_GPIO_Init(GPIOC, &GPIO_InitStruct);

  /*Configure GPIO pin : PMOD_SPI2_SCK_Pin */
  GPIO_InitStruct.Pin = PMOD_SPI2_SCK_Pin;
  GPIO_InitStruct.Mode = GPIO_MODE_AF_PP;
  GPIO_InitStruct.Pull = GPIO_NOPULL;
  GPIO_InitStruct.Speed = GPIO_SPEED_FREQ_VERY_HIGH;
  GPIO_InitStruct.Alternate = GPIO_AF5_SPI2;
  HAL_GPIO_Init(PMOD_SPI2_SCK_GPIO_Port, &GPIO_InitStruct);

  /*Configure GPIO pins : PMOD_UART2_CTS_Pin PMOD_UART2_RTS_Pin PMOD_UART2_TX_Pin PMOD_UART2_RX_Pin */
  GPIO_InitStruct.Pin = PMOD_UART2_CTS_Pin|PMOD_UART2_RTS_Pin|PMOD_UART2_TX_Pin|PMOD_UART2_RX_Pin;
  GPIO_InitStruct.Mode = GPIO_MODE_AF_PP;
  GPIO_InitStruct.Pull = GPIO_NOPULL;
  GPIO_InitStruct.Speed = GPIO_SPEED_FREQ_VERY_HIGH;
  GPIO_InitStruct.Alternate = GPIO_AF7_USART2;
  HAL_GPIO_Init(GPIOD, &GPIO_InitStruct);

  /*Configure GPIO pins : ARD_D15_Pin ARD_D14_Pin */
  GPIO_InitStruct.Pin = ARD_D15_Pin|ARD_D14_Pin;
  GPIO_InitStruct.Mode = GPIO_MODE_AF_OD;
  GPIO_InitStruct.Pull = GPIO_NOPULL;
  GPIO_InitStruct.Speed = GPIO_SPEED_FREQ_VERY_HIGH;
  GPIO_InitStruct.Alternate = GPIO_AF4_I2C1;
  HAL_GPIO_Init(GPIOB, &GPIO_InitStruct);

  /* EXTI interrupt init*/
  HAL_NVIC_SetPriority(EXTI9_5_IRQn, 5, 0);
  HAL_NVIC_EnableIRQ(EXTI9_5_IRQn);

  HAL_NVIC_SetPriority(EXTI15_10_IRQn, 5, 0);
  HAL_NVIC_EnableIRQ(EXTI15_10_IRQn);

}

void StartDefaultTask(void *argument)
{
  for(;;)
  {
    osDelay(1);
  }
}

void StartTask02(void *argument)
{
  /* USER CODE BEGIN StartTask02 */

  // +++ 把你的邏輯貼在這裡 +++
  int i;
  /* Infinite loop */
  for(;;)
  {
    // 1. 等待 "前半部" 數據
    osSemaphoreAcquire(dataReadySemHandle, osWaitForever);

    // 2. 醒來, 執行 printf (前半部)
    for(i = 0; i < SAMPLE_BUFFER_SIZE / 2; i++)
    {
        printf("%d ", sample_buffer[i]);
    }
    printf("\n");

    // 3. 等待 "後半部" 數據
    osSemaphoreAcquire(dataReadySemHandle, osWaitForever);

    // 4. 醒來, 執行 printf (後半部)
    for(i = SAMPLE_BUFFER_SIZE / 2; i < SAMPLE_BUFFER_SIZE; i++)
    {
        printf("%d ", sample_buffer[i]);
    }
    printf("\n");
  }
  /* USER CODE END StartTask02 */
}

void Error_Handler(void)
{
  __disable_irq();
  while (1)
  {
  }
}
